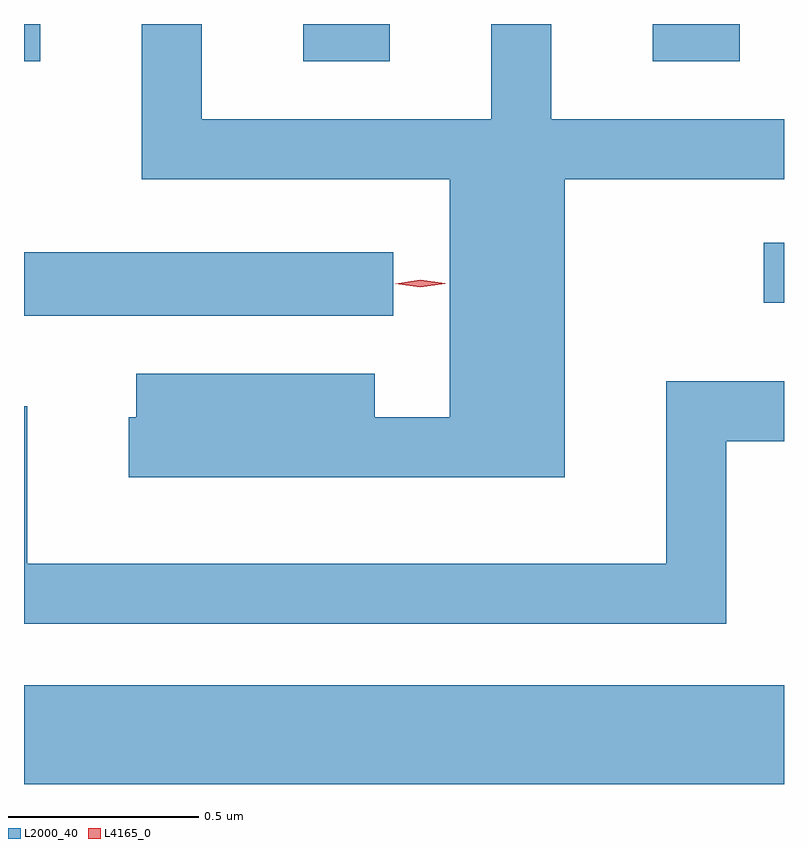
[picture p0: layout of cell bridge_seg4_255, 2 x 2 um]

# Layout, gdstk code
import gdstk
lib = gdstk.Library(unit=1e-6, precision=1e-09)
def R(c, l, rs):  # rectangles x0, y0, x1, y1
    for r in rs: c.add(gdstk.rectangle(r[:2], r[2:], *l))
def P(c, l, *ps):  # polygons
    for p in ps: c.add(gdstk.Polygon(p, *l))
L2000_40 = (2000, 40)
L4165_0 = (4165, 0)

bridge_seg4_255 = lib.new_cell('bridge_seg4_255')
R(bridge_seg4_255, L2000_40, [(691.096,1336.924,693.096,1337.184), (691.096,1338.156,692.068,1338.324), (693.043,1338.191,693.096,1338.349), (691.096,1338.826,691.139,1338.924), (691.831,1338.826,692.059,1338.924), (692.751,1338.826,692.979,1338.924)])
P(bridge_seg4_255, L2000_40, [(692.519,1338.516),(693.096,1338.516),(693.096,1338.674),(692.484,1338.674),(692.484,1338.924),(692.326,1338.924),(692.326,1338.674),(691.564,1338.674),(691.564,1338.924),(691.406,1338.924),(691.406,1338.516),(692.216,1338.516),(692.216,1337.889),(692.019,1337.889),(692.019,1338.004),(691.391,1338.004),(691.391,1337.889),(691.371,1337.889),(691.371,1337.731),(692.519,1337.731)],
  [(692.944,1337.826),(693.096,1337.826),(693.096,1337.984),(692.786,1337.984),(692.786,1337.504),(691.104,1337.504),(691.104,1337.918),(691.096,1337.918),(691.096,1337.346),(692.944,1337.346)])
P(bridge_seg4_255, L4165_0, [(692.139,1338.231),(692.073,1338.24),(692.073,1338.24),(692.073,1338.241),(692.139,1338.251),(692.204,1338.242),(692.205,1338.242),(692.204,1338.241)])

lib.write_gds('bridge_seg4_255.gds')
